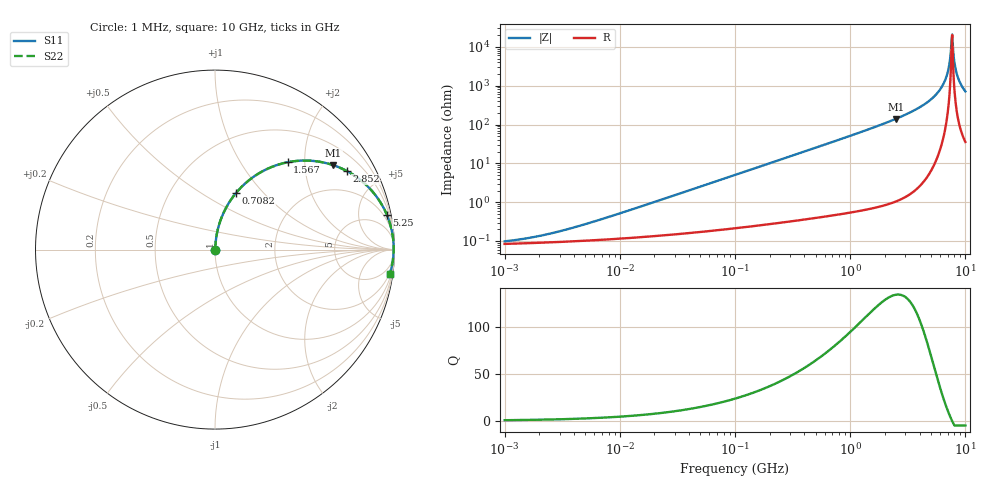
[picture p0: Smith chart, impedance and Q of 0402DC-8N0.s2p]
# MHz  S  MA  R  50
!Freq  MagS11  AngS11  MagS21  AngS21  MagS12  AngS12  MagS22  AngS22
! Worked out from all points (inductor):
!   801 points, 1 MHz to 10 GHz, reference 50 ohm
!   read as one part in series: L = 8 nH near 6.383 MHz
!   highest Q = 135 at 2.484 GHz (marker M1), where L = 8.94 nH
!   self-resonance near 7.589 GHz
!   S11 on the Smith chart (normalised r, x): 1 MHz: 1.00, +0.00; 708.2 MHz: 1.01, +0.72; 1.567 GHz: 1.01, +1.64; 2.852 GHz: 1.02, +3.33; 5.25 GHz: 1, +10; 10 GHz: 2, -14
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1  0.0009807 30.8  0.9992 -0.0  0.9992 -0.0  0.0009807 30.8
2.06545  0.001376 48.8  0.9991 -0.1  0.9991 -0.1  0.001376 48.8
4.67769  0.002556 66.6  0.999 -0.1  0.999 -0.1  0.002556 66.6
21.6303  0.01094 82.2  0.9986 -0.6  0.9986 -0.6  0.01094 82.2
100.0216  0.05016 84.7  0.9966 -2.9  0.9966 -2.9  0.05016 84.7
467.8699  0.2289 75.8  0.9697 -13.2  0.9697 -13.2  0.2289 75.8
708.1635  0.3366 69.6  0.9374 -19.7  0.9374 -19.7  0.3366 69.6
1567.291  0.6325 50.3  0.7692 -39.2  0.7692 -39.2  0.6325 50.3
2163.497  0.7606 40.1  0.6435 -49.5  0.6435 -49.5  0.7606 40.1
2484.043  0.81 35.5  0.5804 -54.1  0.5804 -54.1  0.81 35.5
2852.081  0.8544 30.9  0.5133 -58.7  0.5133 -58.7  0.8544 30.9
4028.737  0.939 19.6  0.3353 -69.9  0.3353 -69.9  0.939 19.6
5250.182  0.9773 11.3  0.1963 -77.7  0.1963 -77.7  0.9773 11.3
6028.054  0.9888 7.1  0.1242 -81.2  0.1242 -81.2  0.9888 7.1
6609.658  0.9932 4.4  0.07634 -82.7  0.07634 -82.7  0.9932 4.4
7082.399  0.995 2.3  0.04065 -81.8  0.04065 -81.8  0.995 2.3
7416.199  0.9955 1.0  0.01717 -74.2  0.01717 -74.2  0.9955 1.0
7676.832  0.9954 -0.1  0.004778 15.2  0.004778 15.2  0.9954 -0.1
7946.626  0.995 -1.1  0.01972 74.7  0.01972 74.7  0.995 -1.1
8225.901  0.9942 -2.1  0.03732 80.1  0.03732 80.1  0.9942 -2.1
8613.594  0.9927 -3.5  0.06101 81.4  0.06101 81.4  0.9927 -3.5
10000  0.9836 -7.9  0.1381 79.2  0.1381 79.2  0.9836 -7.9
